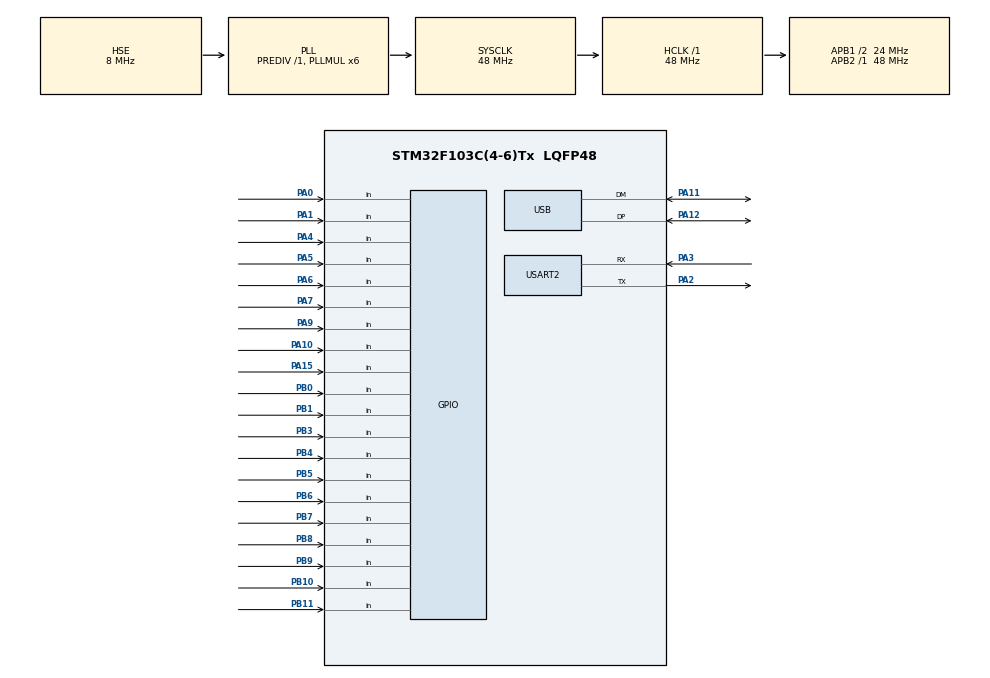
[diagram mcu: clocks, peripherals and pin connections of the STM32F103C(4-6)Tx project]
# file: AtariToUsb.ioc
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Mcu.Family=STM32F1
Mcu.Name=STM32F103C(4-6)Tx
Mcu.Package=LQFP48
NVIC.PriorityGroup=NVIC_PRIORITYGROUP_4
NVIC.USB_HP_CAN1_TX_IRQn=true\:0\:0\:false\:false\:true\:true\:true\:true
NVIC.USB_LP_CAN1_RX0_IRQn=true\:0\:0\:false\:false\:true\:false\:true\:true
PA0-WKUP.GPIO_PuPd=GPIO_PULLUP
PA0-WKUP.Signal=GPIO_Input
PA1.GPIO_PuPd=GPIO_PULLUP
PA1.Signal=GPIO_Input
PA10.GPIO_PuPd=GPIO_PULLUP
PA10.Signal=GPIO_Input
PA11.Mode=Device
PA11.Signal=USB_DM
PA12.Mode=Device
PA12.Signal=USB_DP
PA13.Mode=Serial_Wire
PA13.Signal=SYS_JTMS-SWDIO
PA14.Mode=Serial_Wire
PA14.Signal=SYS_JTCK-SWCLK
PA15.GPIO_PuPd=GPIO_PULLUP
PA15.Signal=GPIO_Input
PA2.Mode=Asynchronous
PA2.Signal=USART2_TX
PA3.Mode=Asynchronous
PA3.Signal=USART2_RX
PA4.GPIO_PuPd=GPIO_PULLUP
PA4.Signal=GPIO_Input
PA5.GPIO_PuPd=GPIO_PULLUP
PA5.Signal=GPIO_Input
PA6.GPIO_PuPd=GPIO_PULLUP
PA6.Signal=GPIO_Input
PA7.GPIO_PuPd=GPIO_PULLUP
PA7.Signal=GPIO_Input
PA9.GPIO_PuPd=GPIO_PULLUP
PA9.Signal=GPIO_Input
PB0.GPIO_PuPd=GPIO_PULLUP
PB0.Signal=GPIO_Input
PB1.GPIO_PuPd=GPIO_PULLUP
PB1.Signal=GPIO_Input
PB10.GPIO_PuPd=GPIO_PULLUP
PB10.Signal=GPIO_Input
PB11.GPIO_PuPd=GPIO_PULLUP
PB11.Signal=GPIO_Input
PB3.GPIO_PuPd=GPIO_PULLUP
PB3.Signal=GPIO_Input
PB4.GPIO_PuPd=GPIO_PULLUP
PB4.Signal=GPIO_Input
PB5.GPIO_PuPd=GPIO_PULLUP
PB5.Signal=GPIO_Input
PB6.GPIO_PuPd=GPIO_PULLUP
PB6.Signal=GPIO_Input
PB7.GPIO_PuPd=GPIO_PULLUP
PB7.Signal=GPIO_Input
PB8.GPIO_PuPd=GPIO_PULLUP
PB8.Signal=GPIO_Input
PB9.GPIO_PuPd=GPIO_PULLUP
PB9.Signal=GPIO_Input
PD0-OSC_IN.Mode=HSE-External-Oscillator
PD0-OSC_IN.Signal=RCC_OSC_IN
PD1-OSC_OUT.Mode=HSE-External-Oscillator
PD1-OSC_OUT.Signal=RCC_OSC_OUT
ProjectManager.HeapSize=0x400
ProjectManager.StackSize=0x800
ProjectManager.TargetToolchain=STM32CubeIDE
RCC.AHBFreq_Value=48000000
RCC.APB1CLKDivider=RCC_HCLK_DIV2
RCC.APB1Freq_Value=24000000
RCC.APB1TimFreq_Value=48000000
RCC.APB2Freq_Value=48000000
RCC.APB2TimFreq_Value=48000000
RCC.HCLKFreq_Value=48000000
RCC.PLLMUL=RCC_PLL_MUL6
RCC.SYSCLKFreq_VALUE=48000000
RCC.SYSCLKSource=RCC_SYSCLKSOURCE_PLLCLK
RCC.USBFreq_Value=48000000
USART2.VirtualMode=VM_ASYNC
USB_DEVICE.CLASS_NAME_FS=HID
USB_DEVICE.VirtualMode=Hid
USB_DEVICE.VirtualModeFS=Hid_FS
VP_USB_DEVICE_VS_USB_DEVICE_HID_FS.Mode=HID_FS
board=custom

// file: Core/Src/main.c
/* USER CODE BEGIN Header */
/**
  ******************************************************************************
  * @file           : main.c
  * @brief          : Main program body
  ******************************************************************************
  * @attention
  *
  * Copyright (c) 2026 STMicroelectronics.
  * All rights reserved.
  *
  * This software is licensed under terms that can be found in the LICENSE file
  * in the root directory of this software component.
  * If no LICENSE file comes with this software, it is provided AS-IS.
  *
  ******************************************************************************
  */
/* USER CODE END Header */
#include "main.h"
#include "usb_device.h"

/* USER CODE BEGIN Includes */
#include "usbd_hid.h"
/* USER CODE END Includes */

UART_HandleTypeDef huart2;

void SystemClock_Config(void);
static void MX_GPIO_Init(void);
static void MX_USART2_UART_Init(void);

int main(void)
{

  /* MCU Configuration--------------------------------------------------------*/

  /* Reset of all peripherals, Initializes the Flash interface and the Systick. */
  HAL_Init();

  /* Configure the system clock */
  SystemClock_Config();

  /* Initialize all configured peripherals */
  MX_GPIO_Init();
  MX_USART2_UART_Init();
  MX_USB_DEVICE_Init();
  /* USER CODE BEGIN 2 */
  uint32_t last_rapid_tick = 0;
  uint32_t last_serial_tick = 0;
  uint8_t rapid_state = 0;
  uint32_t rapid_interval = 40;  // 12.5連射/秒
  uint32_t serial_interval = 12; // 12ms周期送信

  extern USBD_HandleTypeDef hUsbDeviceFS;
  extern UART_HandleTypeDef huart2; // USART2を使用

  // コントローラ読み取り関数
  // コントローラ読み取り関数（シリアル送信仕様に合わせてアクティブLowで値を返す）
  uint8_t read_controller_raw(int id, uint8_t rapid_st) {
      // 0xFFで初期化（全ボタン離状態＝1）
      uint8_t data = 0xFF;

      if (id == 1) {
          // コントローラ① (B9:U, B8:D, B7:L, B6:R, B5:B1, B4:B2, B3:B3)
          // 押されていたら該当ビットを 0 にする
          if (HAL_GPIO_ReadPin(GPIOB, GPIO_PIN_9) == GPIO_PIN_RESET) data &= ~(1 << 0);
          if (HAL_GPIO_ReadPin(GPIOB, GPIO_PIN_8) == GPIO_PIN_RESET) data &= ~(1 << 1);
          if (HAL_GPIO_ReadPin(GPIOB, GPIO_PIN_7) == GPIO_PIN_RESET) data &= ~(1 << 2);
          if (HAL_GPIO_ReadPin(GPIOB, GPIO_PIN_6) == GPIO_PIN_RESET) data &= ~(1 << 3);

          // ボタン1-3 ＋ 連射SW (A9, A10, A15)
          if (HAL_GPIO_ReadPin(GPIOB, GPIO_PIN_5) == GPIO_PIN_RESET) {
              if (HAL_GPIO_ReadPin(GPIOA, GPIO_PIN_9) != GPIO_PIN_RESET || rapid_st) data &= ~(1 << 4);
          }
          if (HAL_GPIO_ReadPin(GPIOB, GPIO_PIN_4) == GPIO_PIN_RESET) {
              if (HAL_GPIO_ReadPin(GPIOA, GPIO_PIN_10) != GPIO_PIN_RESET || rapid_st) data &= ~(1 << 5);
          }
          if (HAL_GPIO_ReadPin(GPIOB, GPIO_PIN_3) == GPIO_PIN_RESET) {
              if (HAL_GPIO_ReadPin(GPIOA, GPIO_PIN_15) != GPIO_PIN_RESET || rapid_st) data &= ~(1 << 6);
          }
          data &= ~(1 << 7); // IDビット: 0 (1P識別用、ここだけは常に0)

      } else {
          // コントローラ② (B11:U, B10:D, B1:L, B0:R, A7:B1, A6:B2, A5:B3)
          if (HAL_GPIO_ReadPin(GPIOB, GPIO_PIN_11) == GPIO_PIN_RESET) data &= ~(1 << 0);
          if (HAL_GPIO_ReadPin(GPIOB, GPIO_PIN_10) == GPIO_PIN_RESET) data &= ~(1 << 1);
          if (HAL_GPIO_ReadPin(GPIOB, GPIO_PIN_1) == GPIO_PIN_RESET)  data &= ~(1 << 2);
          if (HAL_GPIO_ReadPin(GPIOB, GPIO_PIN_0) == GPIO_PIN_RESET)  data &= ~(1 << 3);

          // ボタン1-3 ＋ 連射SW (A0, A1, A4)
          if (HAL_GPIO_ReadPin(GPIOA, GPIO_PIN_7) == GPIO_PIN_RESET) {
              if (HAL_GPIO_ReadPin(GPIOA, GPIO_PIN_0) != GPIO_PIN_RESET || rapid_st) data &= ~(1 << 4);
          }
          if (HAL_GPIO_ReadPin(GPIOA, GPIO_PIN_6) == GPIO_PIN_RESET) {
              if (HAL_GPIO_ReadPin(GPIOA, GPIO_PIN_1) != GPIO_PIN_RESET || rapid_st) data &= ~(1 << 5);
          }
          if (HAL_GPIO_ReadPin(GPIOA, GPIO_PIN_5) == GPIO_PIN_RESET) {
              if (HAL_GPIO_ReadPin(GPIOA, GPIO_PIN_4) != GPIO_PIN_RESET || rapid_st) data &= ~(1 << 6);
          }
          data |= (1 << 7); // IDビット: 1 (2P識別用、ここだけは常に1)
      }
      return data;
  }
  /* USER CODE END 2 */

  /* Infinite loop */
  /* USER CODE BEGIN WHILE */
  while (1)
  {
      uint32_t current_tick = HAL_GetTick();

      // 1. 連射クロック更新
      if (current_tick - last_rapid_tick >= rapid_interval) {
          rapid_state = !rapid_state;
          last_rapid_tick = current_tick;
      }

      // 2. 12ms周期 送信処理
          if (current_tick - last_serial_tick >= serial_interval) {
              uint8_t tx_buf[2];
              tx_buf[0] = read_controller_raw(1, rapid_state);
              tx_buf[1] = read_controller_raw(2, rapid_state);

              // USART2送信 (0でONのバイナリがそのまま飛ぶ)
              HAL_UART_Transmit(&huart2, tx_buf, 2, 10);

              // USB HID送信 (1Pのみ)
              // 0のときに各方向が「真」になるよう判定を反転
              uint8_t u = !(tx_buf[0] & (1 << 0));
              uint8_t d = !(tx_buf[0] & (1 << 1));
              uint8_t l = !(tx_buf[0] & (1 << 2));
              uint8_t r = !(tx_buf[0] & (1 << 3));

              uint8_t hat = 8;
              if (u && r)      hat = 1; else if (d && r) hat = 3;
              else if (d && l) hat = 5; else if (u && l) hat = 7;
              else if (u)      hat = 0; else if (r)      hat = 2;
              else if (d)      hat = 4; else if (l)      hat = 6;

              // ボタンも反転させて取り出す (0のとき1にする)
              uint8_t usb_buttons = (~tx_buf[0] >> 4) & 0x07;
              uint8_t report = (usb_buttons << 4) | (hat & 0x0F);
              USBD_HID_SendReport(&hUsbDeviceFS, &report, 1);

              last_serial_tick = current_tick;
          }    /* USER CODE END WHILE */

  }
}

void SystemClock_Config(void)
{
  RCC_OscInitTypeDef RCC_OscInitStruct = {0};
  RCC_ClkInitTypeDef RCC_ClkInitStruct = {0};
  RCC_PeriphCLKInitTypeDef PeriphClkInit = {0};

  /** Initializes the RCC Oscillators according to the specified parameters
  * in the RCC_OscInitTypeDef structure.
  */
  RCC_OscInitStruct.OscillatorType = RCC_OSCILLATORTYPE_HSE;
  RCC_OscInitStruct.HSEState = RCC_HSE_ON;
  RCC_OscInitStruct.HSEPredivValue = RCC_HSE_PREDIV_DIV1;
  RCC_OscInitStruct.HSIState = RCC_HSI_ON;
  RCC_OscInitStruct.PLL.PLLState = RCC_PLL_ON;
  RCC_OscInitStruct.PLL.PLLSource = RCC_PLLSOURCE_HSE;
  RCC_OscInitStruct.PLL.PLLMUL = RCC_PLL_MUL6;
  if (HAL_RCC_OscConfig(&RCC_OscInitStruct) != HAL_OK)
  {
    Error_Handler();
  }

  /** Initializes the CPU, AHB and APB buses clocks
  */
  RCC_ClkInitStruct.ClockType = RCC_CLOCKTYPE_HCLK|RCC_CLOCKTYPE_SYSCLK
                              |RCC_CLOCKTYPE_PCLK1|RCC_CLOCKTYPE_PCLK2;
  RCC_ClkInitStruct.SYSCLKSource = RCC_SYSCLKSOURCE_PLLCLK;
  RCC_ClkInitStruct.AHBCLKDivider = RCC_SYSCLK_DIV1;
  RCC_ClkInitStruct.APB1CLKDivider = RCC_HCLK_DIV2;
  RCC_ClkInitStruct.APB2CLKDivider = RCC_HCLK_DIV1;

  if (HAL_RCC_ClockConfig(&RCC_ClkInitStruct, FLASH_LATENCY_1) != HAL_OK)
  {
    Error_Handler();
  }
  PeriphClkInit.PeriphClockSelection = RCC_PERIPHCLK_USB;
  PeriphClkInit.UsbClockSelection = RCC_USBCLKSOURCE_PLL;
  if (HAL_RCCEx_PeriphCLKConfig(&PeriphClkInit) != HAL_OK)
  {
    Error_Handler();
  }
}

static void MX_USART2_UART_Init(void)
{

  huart2.Instance = USART2;
  huart2.Init.BaudRate = 115200;
  huart2.Init.WordLength = UART_WORDLENGTH_8B;
  huart2.Init.StopBits = UART_STOPBITS_1;
  huart2.Init.Parity = UART_PARITY_NONE;
  huart2.Init.Mode = UART_MODE_TX_RX;
  huart2.Init.HwFlowCtl = UART_HWCONTROL_NONE;
  huart2.Init.OverSampling = UART_OVERSAMPLING_16;
  if (HAL_UART_Init(&huart2) != HAL_OK)
  {
    Error_Handler();
  }

}

static void MX_GPIO_Init(void)
{
  GPIO_InitTypeDef GPIO_InitStruct = {0};

  /* GPIO Ports Clock Enable */
  __HAL_RCC_GPIOD_CLK_ENABLE();
  __HAL_RCC_GPIOA_CLK_ENABLE();
  __HAL_RCC_GPIOB_CLK_ENABLE();

  /*Configure GPIO pins : PA0 PA1 PA4 PA5
                           PA6 PA7 PA9 PA10
                           PA15 */
  GPIO_InitStruct.Pin = GPIO_PIN_0|GPIO_PIN_1|GPIO_PIN_4|GPIO_PIN_5
                          |GPIO_PIN_6|GPIO_PIN_7|GPIO_PIN_9|GPIO_PIN_10
                          |GPIO_PIN_15;
  GPIO_InitStruct.Mode = GPIO_MODE_INPUT;
  GPIO_InitStruct.Pull = GPIO_PULLUP;
  HAL_GPIO_Init(GPIOA, &GPIO_InitStruct);

  /*Configure GPIO pins : PB0 PB1 PB10 PB11
                           PB3 PB4 PB5 PB6
                           PB7 PB8 PB9 */
  GPIO_InitStruct.Pin = GPIO_PIN_0|GPIO_PIN_1|GPIO_PIN_10|GPIO_PIN_11
                          |GPIO_PIN_3|GPIO_PIN_4|GPIO_PIN_5|GPIO_PIN_6
                          |GPIO_PIN_7|GPIO_PIN_8|GPIO_PIN_9;
  GPIO_InitStruct.Mode = GPIO_MODE_INPUT;
  GPIO_InitStruct.Pull = GPIO_PULLUP;
  HAL_GPIO_Init(GPIOB, &GPIO_InitStruct);

}

void Error_Handler(void)
{
  __disable_irq();
  while (1)
  {
  }
}
